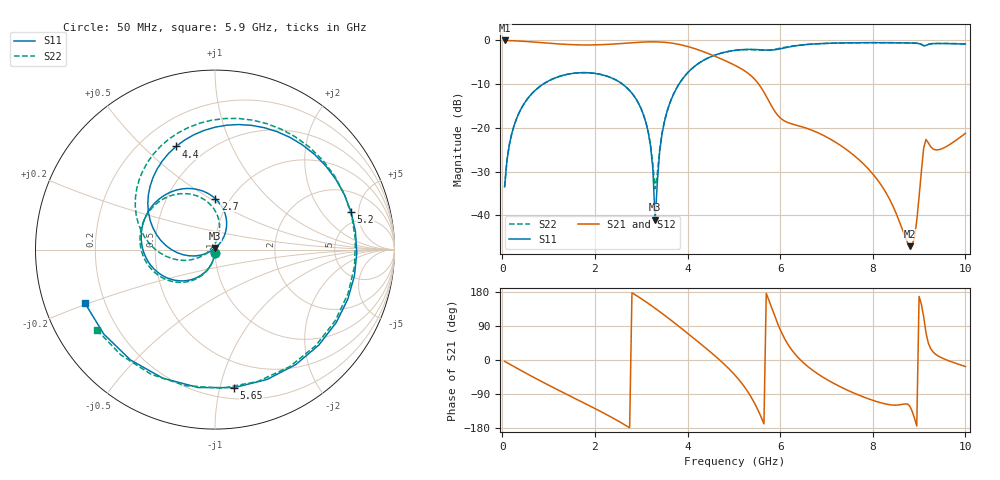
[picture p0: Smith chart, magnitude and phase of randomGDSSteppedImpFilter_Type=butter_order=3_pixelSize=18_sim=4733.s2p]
! freq	dB(S11)	phase(S11)	dB(S12)	phase(S12)
!  dB(S21)	phase(S21)	dB(S22)	phase(S22)
!S-par simulation data
#  GHz  S  DB  R 50
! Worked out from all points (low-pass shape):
!   200 points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, 50 MHz to 10 GHz, reference 50 ohm
!   highest |S21| = -0.01 dB at 50 MHz (marker M1); lowest = -47.0 dB at 8.8 GHz (marker M2)
!   |S21| within 3 dB of the highest: start of sweep to 4.45 GHz
!   lowest |S11| = -41.0 dB at 3.3 GHz (marker M3), VSWR 1.02, Z = 49.8 + j0.874 ohm
!   |S11| at or under -10 dB: start of sweep to 881.9 MHz; 2.596 GHz to 3.816 GHz (1.22 GHz wide, 38.1 % of centre)
!   |S22| runs from -33.9 to -0.5 dB; largest |S21 - S12| = 0
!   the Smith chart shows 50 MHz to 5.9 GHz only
!   S11 on the Smith chart (normalised r, x): 50 MHz: 1.00, -0.04; 2.7 GHz: 0.85, +0.53; 4.4 GHz: 0.34, +0.63; 5.2 GHz: 3.75, +4.10; 5.65 GHz: 0.29, -1.11; 5.9 GHz: 0.13, -0.19
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0.05  -33.48 -93.6  -0.01 -3.5  -0.01 -3.5  -33.48 -93.4
0.2  -21.51 -104.4  -0.06 -13.8  -0.06 -13.8  -21.51 -103.7
0.5  -13.99 -125.6  -0.23 -34.1  -0.23 -34.1  -14.00 -123.8
1.75  -7.37 153.8  -1.03 -112.4  -1.03 -112.4  -7.36 160.6
2.7  -10.93 89.7  -0.61 -175.1  -0.61 -175.1  -10.92 101.9
3.15  -20.95 55.6  -0.34 149.4  -0.34 149.4  -20.83 75.8
3.3  -41.02 99.7  -0.33 136.5  -0.33 136.5  -33.90 128.5
3.4  -25.23 -156.1  -0.36 127.5  -0.36 127.5  -24.73 -155.7
3.75  -11.20 175.1  -0.77 94.8  -0.77 94.8  -11.16 -172.4
4.4  -4.23 110.7  -2.80 30.8  -2.80 30.8  -4.22 127.6
5.05  -2.23 37.1  -5.84 -43.5  -5.84 -43.5  -2.25 54.5
5.2  -2.09 15.3  -6.74 -66.0  -6.74 -66.0  -2.13 31.6
5.45  -2.07 -31.1  -8.89 -114.8  -8.89 -114.8  -2.15 -18.2
5.65  -2.20 -82.2  -11.83 -168.5  -11.83 -168.5  -2.24 -72.1
5.9  -2.11 -157.7  -16.45 110.5  -16.45 110.5  -1.99 -145.8
6.25  -1.39 119.9  -19.09 26.6  -19.09 26.6  -1.29 139.3
6.7  -0.83 60.6  -20.59 -26.9  -20.59 -26.9  -0.82 83.8
7.45  -0.55 3.7  -25.10 -79.5  -25.10 -79.5  -0.56 27.0
8.35  -0.52 -42.7  -36.05 -117.7  -36.05 -117.7  -0.52 -21.8
8.8  -0.58 -62.3  -47.05 -122.0  -47.05 -122.0  -0.56 -42.8
9.15  -1.14 -74.0  -22.64 71.2  -22.64 71.2  -1.21 -55.2
10  -0.83 -107.9  -21.25 -17.2  -21.25 -17.2  -0.78 -90.7
